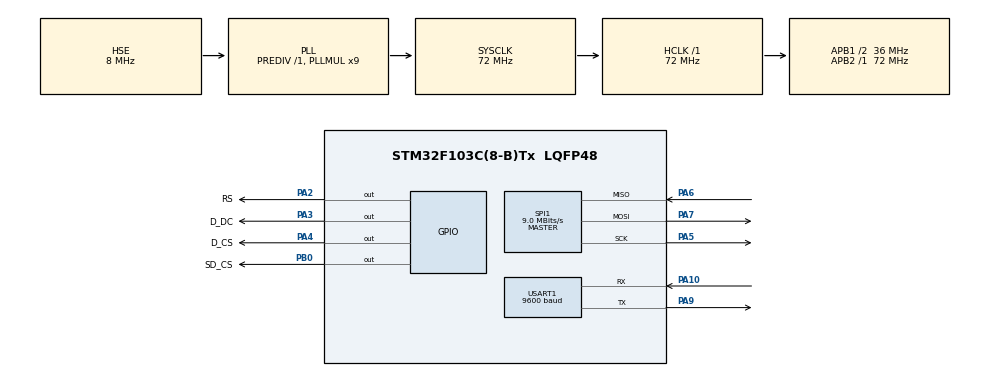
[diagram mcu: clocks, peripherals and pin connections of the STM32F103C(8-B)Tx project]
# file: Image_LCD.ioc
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FATFS._MAX_SS=4096
FATFS._USE_LFN=1
Mcu.Family=STM32F1
Mcu.Name=STM32F103C(8-B)Tx
Mcu.Package=LQFP48
NVIC.PriorityGroup=NVIC_PRIORITYGROUP_4
NVIC.SPI1_IRQn=true\:0\:0\:false\:false\:true\:true\:true
NVIC.USART1_IRQn=true\:0\:0\:false\:false\:true\:true\:true
PA10.Mode=Asynchronous
PA10.Signal=USART1_RX
PA13.Mode=Serial_Wire
PA13.Signal=SYS_JTMS-SWDIO
PA14.Mode=Serial_Wire
PA14.Signal=SYS_JTCK-SWCLK
PA2.GPIO_Label=RS
PA2.Signal=GPIO_Output
PA3.GPIO_Label=D_DC
PA3.Signal=GPIO_Output
PA4.GPIO_Label=D_CS
PA4.Signal=GPIO_Output
PA5.Mode=Full_Duplex_Master
PA5.Signal=SPI1_SCK
PA6.Mode=Full_Duplex_Master
PA6.Signal=SPI1_MISO
PA7.Mode=Full_Duplex_Master
PA7.Signal=SPI1_MOSI
PA9.Mode=Asynchronous
PA9.Signal=USART1_TX
PB0.GPIO_Label=SD_CS
PB0.Signal=GPIO_Output
PD0-OSC_IN.Mode=HSE-External-Oscillator
PD0-OSC_IN.Signal=RCC_OSC_IN
PD1-OSC_OUT.Mode=HSE-External-Oscillator
PD1-OSC_OUT.Signal=RCC_OSC_OUT
ProjectManager.HeapSize=0x200
ProjectManager.StackSize=0x400
ProjectManager.TargetToolchain=MDK-ARM V5
RCC.AHBFreq_Value=72000000
RCC.APB1CLKDivider=RCC_HCLK_DIV2
RCC.APB1Freq_Value=36000000
RCC.APB1TimFreq_Value=72000000
RCC.APB2Freq_Value=72000000
RCC.APB2TimFreq_Value=72000000
RCC.HCLKFreq_Value=72000000
RCC.PLLMUL=RCC_PLL_MUL9
RCC.PLLSourceVirtual=RCC_PLLSOURCE_HSE
RCC.SYSCLKFreq_VALUE=72000000
RCC.SYSCLKSource=RCC_SYSCLKSOURCE_PLLCLK
RCC.USBFreq_Value=72000000
SPI1.BaudRatePrescaler=SPI_BAUDRATEPRESCALER_8
SPI1.CalculateBaudRate=9.0 MBits/s
SPI1.Direction=SPI_DIRECTION_2LINES
SPI1.Mode=SPI_MODE_MASTER
SPI1.VirtualType=VM_MASTER
USART1.BaudRate=9600
USART1.VirtualMode=VM_ASYNC
VP_FATFS_VS_Generic.Mode=User_defined
board=custom

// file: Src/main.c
/* USER CODE BEGIN Header */
/**
  ******************************************************************************
  * @file           : main.c
  * @brief          : Main program body
  ******************************************************************************
  * @attention
  *
  * <h2><center>&copy; Copyright (c) 2020 STMicroelectronics.
  * All rights reserved.</center></h2>
  *
  * This software component is licensed by ST under Ultimate Liberty license
  * SLA0044, the "License"; You may not use this file except in compliance with
  * the License. You may obtain a copy of the License at:
  *                             www.st.com/SLA0044
  *
  ******************************************************************************
  */
/* USER CODE END Header */

#include "main.h"
#include "fatfs.h"

/* USER CODE BEGIN Includes */
#include "fatfs_sd.h"
#include "string.h"
#include "MY_ILI9341.h"
/* USER CODE END Includes */

SPI_HandleTypeDef hspi1;

UART_HandleTypeDef huart1;

void SystemClock_Config(void);
static void MX_GPIO_Init(void);
static void MX_SPI1_Init(void);
static void MX_USART1_UART_Init(void);

/* USER CODE BEGIN 0 */
FATFS fs;  // file system
FIL fil;  // file
FRESULT fresult;  // to store the result
char buffer[2]; // to store data
unsigned char pix1,pix2,pix3,_pix1,_pix2,_pix3;
unsigned long tft_pix;
unsigned int pix[320];
//
UINT br, bw;   // file read/write count
uint16_t x,y,a,b,c;
uint16_t i;
/* capacity related variables */
FATFS *pfs;
DWORD fre_clust;
uint32_t total, free_space;

/* to send the data to the uart */
void send_uart (char *string)
{
	uint8_t len = strlen (string);
	HAL_UART_Transmit(&huart1, (uint8_t *) string, len, 2000);  // transmit in blocking mode
}

/* to find the size of data in the buffer */
int bufsize (char *buf)
{
	int i=0;
	while (*buf++ != '\0') i++;
	return i;
}

void bufclear (void)  // clear buffer
{
	for (int i=0; i<1024; i++)
	{
		buffer[i] = '\0';
	}
}
/* USER CODE END 0 */

int main(void)
{

  /* MCU Configuration--------------------------------------------------------*/

  /* Reset of all peripherals, Initializes the Flash interface and the Systick. */
  HAL_Init();

  /* Configure the system clock */
  SystemClock_Config();

  /* Initialize all configured peripherals */
  MX_GPIO_Init();
  MX_SPI1_Init();
  MX_USART1_UART_Init();
  MX_FATFS_Init();
  /* USER CODE BEGIN 2 */
	ILI9341_Init(&hspi1, LCD_CS_GPIO_Port, LCD_CS_Pin, LCD_DC_GPIO_Port, LCD_DC_Pin, LCD_RST_GPIO_Port, LCD_RST_Pin);
	ILI9341_setRotation(2);
  /* USER CODE END 2 */
	fresult = f_open(&fil,"phuoc.txt", FA_OPEN_ALWAYS|FA_WRITE|FA_READ);
	/* Mount SD Card */
  fresult = f_mount(&fs, "", 0);
  if (fresult != FR_OK) send_uart ("error in mounting SD CARD...\n");
  else send_uart("SD CARD mounted successfully...\n");
	/*open file */
	/*
	fresult = f_open(&fil, "003.bmp",FA_READ);
	//f_seek(&fsrc, 0x3E, F_SEEK_SET); // Seek to the data
	//f_lseek(&fsrc, 0x0A);
	fresult = f_lseek(&fil, 52); // 480 52 532 1012

	for(y=0; y<320; y++)
	{
		for(x=0; x<240; x++)
		{

			f_read(&fil,&pix1,1, &br);
			f_read(&fil,&pix2,1, &br);
			f_read(&fil,&pix3,1, &br);
		  _pix1=pix1/8;
			_pix2=pix2/4;
			_pix3=pix3/8;
			tft_pix=(_pix1<<11)+(_pix2<<5)+_pix3;
			ILI9341_DrawPixel(y,x,tft_pix);
			f_read (&fil,buffer,2, &br);	// 0 6 11
			//i = ((buffer[1]>>3)<<11)|(buffer[0]&0x1F);
			//i = ((buffer[1]>>3)<<11)+((buffer[1]<<4)|(buffer[0]>>7)<<6)+(buffer[0]&0x1F);
			//i = ((((buffer[1]&0x07)<<3)|((buffer[0]&0xC0)>>5))<<0)|((buffer[1]>>3)<<5)|((buffer[0]&0x3F)<<11);
			//i = (buffer[1]<<8)+buffer[0]&0x3F;
			// ****** i = (((buffer[1]<<3)|(buffer[0]>>5))<<6);
		  i = (((buffer[1]<<3)|(buffer[0]>>5))<<6)|(buffer[0]&0x3F); // sang hon
			//i = (((buffer[1]<<3)|(buffer[0]>>5))<<6)|(buffer[0]&0x3F)|((buffer[1]>>3)<<11);
		  // i = (((buffer[1]<<3)|(buffer[0]>>5))<<11)|((buffer[1]>>3)<<0)|((buffer[0]&0x3F)<<6);
			ILI9341_DrawPixel(y,x,i);
		}
	}
	f_close(&fil);
	*/
  while (1)
  {
    fresult = f_open(&fil, "002.bmp",FA_READ);
		fresult = f_lseek(&fil, 52);
		for(y=0; y<320; y++)
	  {
		  for(x=0; x<240; x++)
		  {
		  	f_read (&fil,buffer,2, &br);
		  	i = (((buffer[1]<<3)|(buffer[0]>>5))<<6)|(buffer[0]&0x3F);
		  	ILI9341_DrawPixel(y,x,i);
			}
		}
		f_close(&fil);
		HAL_Delay(500);
		//
		fresult = f_open(&fil, "003.bmp",FA_READ);
		fresult = f_lseek(&fil, 52);
		for(y=0; y<320; y++)
	  {
		  for(x=0; x<240; x++)
		  {
		  	f_read (&fil,buffer,2, &br);
		  	i = (((buffer[1]<<3)|(buffer[0]>>5))<<6)|(buffer[0]&0x3F);
		  	ILI9341_DrawPixel(y,x,i);
			}
		}
		f_close(&fil);
		HAL_Delay(500);
		//
		fresult = f_open(&fil, "004.bmp",FA_READ);
		fresult = f_lseek(&fil, 52);
		for(y=0; y<320; y++)
	  {
		  for(x=0; x<240; x++)
		  {
		  	f_read (&fil,buffer,2, &br);
		  	i = (((buffer[1]<<3)|(buffer[0]>>5))<<6)|(buffer[0]&0x3F);
		  	ILI9341_DrawPixel(y,x,i);
			}
		}
		f_close(&fil);
		HAL_Delay(500);
		//
		fresult = f_open(&fil, "005.bmp",FA_READ);
		fresult = f_lseek(&fil, 52);
		for(y=0; y<320; y++)
	  {
		  for(x=0; x<240; x++)
		  {
		  	f_read (&fil,buffer,2, &br);
		  	i = (((buffer[1]<<3)|(buffer[0]>>5))<<6)|(buffer[0]&0x3F);
		  	ILI9341_DrawPixel(y,x,i);
			}
		}
		f_close(&fil);
		HAL_Delay(500);
		//
		fresult = f_open(&fil, "006.bmp",FA_READ);
		fresult = f_lseek(&fil, 52);
		for(y=0; y<320; y++)
	  {
		  for(x=0; x<240; x++)
		  {
		  	f_read (&fil,buffer,2, &br);
		  	i = (((buffer[1]<<3)|(buffer[0]>>5))<<6)|(buffer[0]&0x3F);
		  	ILI9341_DrawPixel(y,x,i);
			}
		}
		f_close(&fil);
		HAL_Delay(500);
  }
  /* USER CODE END 3 */
}

void SystemClock_Config(void)
{
  RCC_OscInitTypeDef RCC_OscInitStruct = {0};
  RCC_ClkInitTypeDef RCC_ClkInitStruct = {0};

  /** Initializes the CPU, AHB and APB busses clocks
  */
  RCC_OscInitStruct.OscillatorType = RCC_OSCILLATORTYPE_HSE;
  RCC_OscInitStruct.HSEState = RCC_HSE_ON;
  RCC_OscInitStruct.HSEPredivValue = RCC_HSE_PREDIV_DIV1;
  RCC_OscInitStruct.HSIState = RCC_HSI_ON;
  RCC_OscInitStruct.PLL.PLLState = RCC_PLL_ON;
  RCC_OscInitStruct.PLL.PLLSource = RCC_PLLSOURCE_HSE;
  RCC_OscInitStruct.PLL.PLLMUL = RCC_PLL_MUL9;
  if (HAL_RCC_OscConfig(&RCC_OscInitStruct) != HAL_OK)
  {
    Error_Handler();
  }
  /** Initializes the CPU, AHB and APB busses clocks
  */
  RCC_ClkInitStruct.ClockType = RCC_CLOCKTYPE_HCLK|RCC_CLOCKTYPE_SYSCLK
                              |RCC_CLOCKTYPE_PCLK1|RCC_CLOCKTYPE_PCLK2;
  RCC_ClkInitStruct.SYSCLKSource = RCC_SYSCLKSOURCE_PLLCLK;
  RCC_ClkInitStruct.AHBCLKDivider = RCC_SYSCLK_DIV1;
  RCC_ClkInitStruct.APB1CLKDivider = RCC_HCLK_DIV2;
  RCC_ClkInitStruct.APB2CLKDivider = RCC_HCLK_DIV1;

  if (HAL_RCC_ClockConfig(&RCC_ClkInitStruct, FLASH_LATENCY_2) != HAL_OK)
  {
    Error_Handler();
  }
}

static void MX_SPI1_Init(void)
{

  /* SPI1 parameter configuration*/
  hspi1.Instance = SPI1;
  hspi1.Init.Mode = SPI_MODE_MASTER;
  hspi1.Init.Direction = SPI_DIRECTION_2LINES;
  hspi1.Init.DataSize = SPI_DATASIZE_8BIT;
  hspi1.Init.CLKPolarity = SPI_POLARITY_LOW;
  hspi1.Init.CLKPhase = SPI_PHASE_1EDGE;
  hspi1.Init.NSS = SPI_NSS_SOFT;
  hspi1.Init.BaudRatePrescaler = SPI_BAUDRATEPRESCALER_4;
  hspi1.Init.FirstBit = SPI_FIRSTBIT_MSB;
  hspi1.Init.TIMode = SPI_TIMODE_DISABLE;
  hspi1.Init.CRCCalculation = SPI_CRCCALCULATION_DISABLE;
  hspi1.Init.CRCPolynomial = 10;
  if (HAL_SPI_Init(&hspi1) != HAL_OK)
  {
    Error_Handler();
  }

}

static void MX_USART1_UART_Init(void)
{

  huart1.Instance = USART1;
  huart1.Init.BaudRate = 9600;
  huart1.Init.WordLength = UART_WORDLENGTH_8B;
  huart1.Init.StopBits = UART_STOPBITS_1;
  huart1.Init.Parity = UART_PARITY_NONE;
  huart1.Init.Mode = UART_MODE_TX_RX;
  huart1.Init.HwFlowCtl = UART_HWCONTROL_NONE;
  huart1.Init.OverSampling = UART_OVERSAMPLING_16;
  if (HAL_UART_Init(&huart1) != HAL_OK)
  {
    Error_Handler();
  }

}

static void MX_GPIO_Init(void)
{
  GPIO_InitTypeDef GPIO_InitStruct = {0};

  /* GPIO Ports Clock Enable */
  __HAL_RCC_GPIOD_CLK_ENABLE();
  __HAL_RCC_GPIOA_CLK_ENABLE();
  __HAL_RCC_GPIOB_CLK_ENABLE();

  /*Configure GPIO pin Output Level */
  HAL_GPIO_WritePin(GPIOA, RS_Pin|D_DC_Pin|D_CS_Pin, GPIO_PIN_RESET);

  /*Configure GPIO pin Output Level */
  HAL_GPIO_WritePin(SD_CS_GPIO_Port, SD_CS_Pin, GPIO_PIN_RESET);

  /*Configure GPIO pins : RS_Pin D_DC_Pin D_CS_Pin */
  GPIO_InitStruct.Pin = RS_Pin|D_DC_Pin|D_CS_Pin;
  GPIO_InitStruct.Mode = GPIO_MODE_OUTPUT_PP;
  GPIO_InitStruct.Pull = GPIO_NOPULL;
  GPIO_InitStruct.Speed = GPIO_SPEED_FREQ_LOW;
  HAL_GPIO_Init(GPIOA, &GPIO_InitStruct);

  /*Configure GPIO pin : SD_CS_Pin */
  GPIO_InitStruct.Pin = SD_CS_Pin;
  GPIO_InitStruct.Mode = GPIO_MODE_OUTPUT_PP;
  GPIO_InitStruct.Pull = GPIO_NOPULL;
  GPIO_InitStruct.Speed = GPIO_SPEED_FREQ_LOW;
  HAL_GPIO_Init(SD_CS_GPIO_Port, &GPIO_InitStruct);

}

void Error_Handler(void)
{
}

/************************ (C) COPYRIGHT STMicroelectronics *****END OF FILE****/
